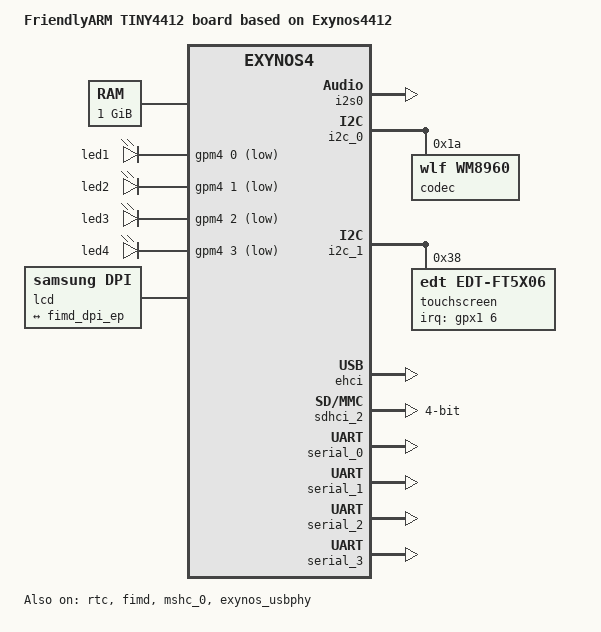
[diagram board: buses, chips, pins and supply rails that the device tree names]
/*
 * FriendlyARM's Exynos4412 based TINY4412 board device tree source
 *
 * Copyright (c) 2013 Alex Ling <kasimling@gmail.com>
 *
 * Device tree source file for FriendlyARM's TINY4412 board which is based on
 * Samsung's Exynos4412 SoC.
 *
 * This program is free software; you can redistribute it and/or modify
 * it under the terms of the GNU General Public License version 2 as
 * published by the Free Software Foundation.
*/

/dts-v1/;
#include "exynos4412.dtsi"
#include <dt-bindings/gpio/gpio.h>
#include <dt-bindings/sound/samsung-i2s.h>

/ {
	model = "FriendlyARM TINY4412 board based on Exynos4412";
	compatible = "friendlyarm,tiny4412", "samsung,exynos4412", "samsung,exynos4";

	chosen {
		stdout-path = &serial_0;
	};

	memory@40000000 {
		device_type = "memory";
		reg = <0x40000000 0x40000000>;
	};

	leds {
		compatible = "gpio-leds";

		led1 {
			label = "led1";
			gpios = <&gpm4 0 GPIO_ACTIVE_LOW>;
			default-state = "off";
			linux,default-trigger = "heartbeat";
		};

		led2 {
			label = "led2";
			gpios = <&gpm4 1 GPIO_ACTIVE_LOW>;
			default-state = "off";
		};

		led3 {
			label = "led3";
			gpios = <&gpm4 2 GPIO_ACTIVE_LOW>;
			default-state = "off";
		};

		led4 {
			label = "led4";
			gpios = <&gpm4 3 GPIO_ACTIVE_LOW>;
			default-state = "off";
			linux,default-trigger = "mmc0";
		};
	};

	fixed-rate-clocks {
		xxti {
			compatible = "samsung,clock-xxti";
			clock-frequency = <0>;
		};

		xusbxti {
			compatible = "samsung,clock-xusbxti";
			clock-frequency = <24000000>;
		};
	};
    
    lcd {
        compatible = "samsung,dpi";
        
        panel-width-mm = <90>;
        panel-height-mm = <154>;
        
        display-timings {
            timing {
                clock-frequency = <33000000>;
                hactive = <800>;
                vactive = <480>;
                hback-porch = <46>;
                hfront-porch = <210>;
                vback-porch = <20>;
                vfront-porch = <22>;
                hsync-len = <2>;
                vsync-len = <1>;
                hsync-active = <40>;
                vsync-active = <22>;
                de-active = <0>;
                pixelclk-active = <0>;
            };
        };
        port {
            lcd_ep: endpoint {
                remote-endpoint = <&fimd_dpi_ep>;
            };
        };
    };

    sound {
		compatible = "simple-audio-card";
		simple-audio-card,name = "wm-sound";

		simple-audio-card,format = "i2s";
		simple-audio-card,bitclock-master = <&cpu>;
		simple-audio-card,frame-master = <&cpu>;

		simple-audio-card,widgets =
			"Microphone", "Mic Jack",
			"Line", "Line In",
			"Line", "Line Out",
			"Speaker", "Speaker",
			"Headphone", "Headphone Jack";
		simple-audio-card,routing =
			"Headphone Jack", "HP_L",
			"Headphone Jack", "HP_R",
			"Speaker", "SPK_LP",
			"Speaker", "SPK_LN",
			"Speaker", "SPK_RP",
			"Speaker", "SPK_RN",
			"LINPUT1", "Mic Jack",
			"LINPUT3", "Mic Jack",
			"RINPUT1", "Mic Jack",
			"RINPUT2", "Mic Jack";

        	cpu: simple-audio-card,cpu {
			sound-dai = <&i2s0 0>;
      //      		system-clock-direction-out;
		};

		link0_codec: simple-audio-card,codec {
			sound-dai = <&codec>;
			clocks = <&i2s0 CLK_I2S_CDCLK>;
		};
	};
    
    	xrtcxti: xrtcxti {
		compatible = "fixed-clock";
		clock-frequency = <32768>;
		clock-output-names = "xrtcxti";
		#clock-cells = <0>;
	};
    
};

&clock_audss {
	assigned-clocks = <&clock_audss EXYNOS_MOUT_AUDSS>,
			<&clock_audss EXYNOS_MOUT_I2S>,
			<&clock_audss EXYNOS_DOUT_SRP>,
			<&clock_audss EXYNOS_DOUT_AUD_BUS>;
	assigned-clock-parents = <&clock CLK_FOUT_EPLL>,
			<&clock_audss EXYNOS_MOUT_AUDSS>;
};

&i2s0 {
	pinctrl-0 = <&i2s0_bus>;
	pinctrl-names = "default";
	status = "okay";
};

&rtc {
	clocks = <&clock CLK_RTC>, <&xrtcxti>;
	clock-names = "rtc","rtc_src";
	status = "okay";
};

&i2c_0 {
	#address-cells = <1>;
	#size-cells = <0>;
	samsung,i2c-sda-delay = <100>;
	samsung,i2c-max-bus-freq = <100000>;
	pinctrl-0 = <&i2c0_bus>;
	pinctrl-names = "default";
	status = "okay";

    	codec: wm8960@1a {
		compatible = "wlf,wm8960";
		reg = <0x1a>;
		#sound-dai-cells = <0>;
	};
};

&i2c_1 {
	#address-cells = <1>;
	#size-cells = <0>;
	samsung,i2c-sda-delay = <100>;
	samsung,i2c-max-bus-freq = <20000>;
	pinctrl-0 = <&i2c1_bus>;
	pinctrl-names = "default";
	status = "okay";

    touchscreen@38 {
		compatible = "edt,edt-ft5x06";
		reg = <0x38>;
		interrupt-parent = <&gpx1>;
		interrupts = <6 IRQ_TYPE_EDGE_FALLING>;
		touchscreen-size-x = <800>;
		touchscreen-size-y = <480>;
		touchscreen-inverted-x;
		touchscreen-inverted-y;
	};
};

&fimd {
	pinctrl-0 = <&lcd_clk &lcd_data24>;
	pinctrl-names = "default";
	status = "okay";
    samsung,invert-vden;
	samsung,invert-vclk;
	#address-cells = <1>;
	#size-cells = <0>;

    port@3 {
		reg = <3>;
		fimd_dpi_ep: endpoint {
			remote-endpoint = <&lcd_ep>;
		};
	};
};

&mshc_0 {
	status = "okay";
    non-removable;
	broken-cd;
	card-detect-delay = <200>;
	samsung,dw-mshc-ciu-div = <3>;
	samsung,dw-mshc-sdr-timing = <1 1>;
	samsung,dw-mshc-ddr-timing = <1 1>;
	samsung,read-strobe-delay = <90>;
	bus-width = <8>;
	cap-mmc-highspeed;
};

&exynos_usbphy {
	status = "okay";
};

&ehci {
	samsung,vbus-gpio = <&gpx3 5 1>;
	status = "okay";

	port@1{
		status = "okay";
	};
	port@2 {
		status = "okay";
	};
};

&sdhci_2 {
	bus-width = <4>;
	pinctrl-0 = <&sd2_clk &sd2_cmd &sd2_cd &sd2_bus4>;
	pinctrl-names = "default";
	status = "okay";
};

&serial_0 {
	status = "okay";
};

&serial_1 {
	status = "okay";
};

&serial_2 {
	status = "okay";
};

&serial_3 {
	status = "okay";
};
